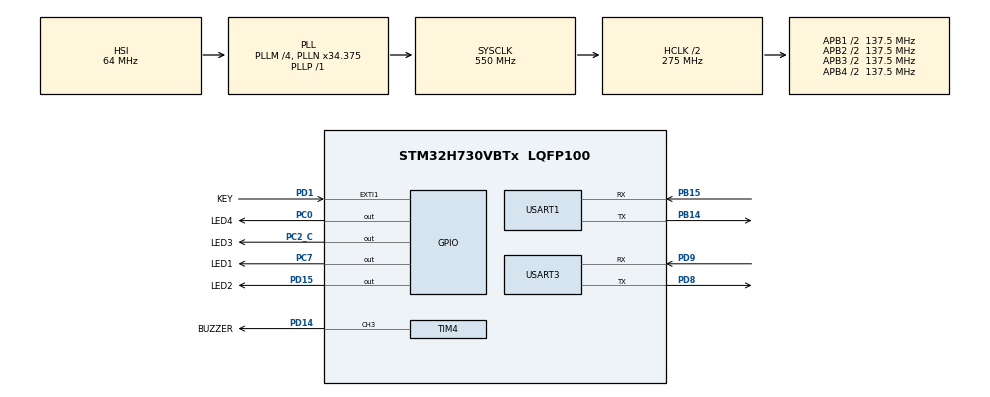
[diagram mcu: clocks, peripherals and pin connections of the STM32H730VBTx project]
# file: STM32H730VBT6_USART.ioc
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CORTEX_M7.default_mode_Activation=1
Dma.Request0=USART1_TX
Dma.USART1_TX.0.Direction=DMA_MEMORY_TO_PERIPH
Dma.USART1_TX.0.EventEnable=DISABLE
Dma.USART1_TX.0.FIFOMode=DMA_FIFOMODE_DISABLE
Dma.USART1_TX.0.Instance=DMA1_Stream0
Dma.USART1_TX.0.MemDataAlignment=DMA_MDATAALIGN_BYTE
Dma.USART1_TX.0.MemInc=DMA_MINC_ENABLE
Dma.USART1_TX.0.Mode=DMA_CIRCULAR
Dma.USART1_TX.0.PeriphDataAlignment=DMA_PDATAALIGN_BYTE
Dma.USART1_TX.0.PeriphInc=DMA_PINC_DISABLE
Dma.USART1_TX.0.Polarity=HAL_DMAMUX_REQ_GEN_RISING
Dma.USART1_TX.0.Priority=DMA_PRIORITY_LOW
Dma.USART1_TX.0.RequestNumber=1
Dma.USART1_TX.0.SignalID=NONE
Dma.USART1_TX.0.SyncEnable=DISABLE
Dma.USART1_TX.0.SyncPolarity=HAL_DMAMUX_SYNC_NO_EVENT
Dma.USART1_TX.0.SyncRequestNumber=1
Dma.USART1_TX.0.SyncSignalID=NONE
Mcu.Family=STM32H7
Mcu.Name=STM32H730VBTx
Mcu.Package=LQFP100
NVIC.DMA1_Stream0_IRQn=true\:0\:0\:false\:false\:true\:false\:true\:true
NVIC.EXTI1_IRQn=true\:0\:0\:false\:false\:true\:true\:true\:true
NVIC.PriorityGroup=NVIC_PRIORITYGROUP_4
PA13(JTMS/SWDIO).Mode=Serial_Wire
PA13(JTMS/SWDIO).Signal=DEBUG_JTMS-SWDIO
PA14(JTCK/SWCLK).Mode=Serial_Wire
PA14(JTCK/SWCLK).Signal=DEBUG_JTCK-SWCLK
PB14.Mode=Asynchronous
PB14.Signal=USART1_TX
PB15.Mode=Asynchronous
PB15.Signal=USART1_RX
PC0.GPIO_Label=LED4
PC0.Signal=GPIO_Output
PC14-OSC32_IN.Mode=LSE-External-Oscillator
PC14-OSC32_IN.Signal=RCC_OSC32_IN
PC15-OSC32_OUT.Mode=LSE-External-Oscillator
PC15-OSC32_OUT.Signal=RCC_OSC32_OUT
PC2_C.GPIO_Label=LED3
PC2_C.Signal=GPIO_Output
PC7.GPIO_Label=LED1
PC7.Signal=GPIO_Output
PD1.GPIO_Label=KEY
PD1.GPIO_ModeDefaultEXTI=GPIO_MODE_IT_FALLING
PD1.Signal=GPXTI1
PD14.GPIO_Label=BUZZER
PD14.Signal=S_TIM4_CH3
PD15.GPIO_Label=LED2
PD15.Signal=GPIO_Output
PD8.Mode=Asynchronous
PD8.Signal=USART3_TX
PD9.Mode=Asynchronous
PD9.Signal=USART3_RX
PH0-OSC_IN.Mode=HSE-External-Oscillator
PH0-OSC_IN.Signal=RCC_OSC_IN
PH1-OSC_OUT.Mode=HSE-External-Oscillator
PH1-OSC_OUT.Signal=RCC_OSC_OUT
ProjectManager.HeapSize=0x200
ProjectManager.StackSize=0x400
ProjectManager.TargetToolchain=STM32CubeIDE
RCC.ADCFreq_Value=129000000
RCC.APB1Freq_Value=137500000
RCC.APB2Freq_Value=137500000
RCC.APB3Freq_Value=137500000
RCC.APB4Freq_Value=137500000
RCC.CortexFreq_Value=550000000
RCC.D1PPRE=RCC_APB3_DIV2
RCC.D2PPRE1=RCC_APB1_DIV2
RCC.D2PPRE2=RCC_APB2_DIV2
RCC.D3PPRE=RCC_APB4_DIV2
RCC.DIVM1=4
RCC.DIVN1=34
RCC.DIVP1=1
RCC.HCLKFreq_Value=275000000
RCC.HPRE=RCC_HCLK_DIV2
RCC.PLL2FRACN=0
RCC.PLL3FRACN=0
RCC.PLLFRACN=3072
RCC.SYSCLKFreq_VALUE=550000000
RCC.SYSCLKSource=RCC_SYSCLKSOURCE_PLLCLK
RCC.USBFreq_Value=275000000
SH.S_TIM4_CH3.0=TIM4_CH3,PWM Generation3 CH3
TIM4.AutoReloadPreload=TIM_AUTORELOAD_PRELOAD_ENABLE
TIM4.Channel-PWM\ Generation3\ CH3=TIM_CHANNEL_3
TIM4.OCFastMode_PWM-PWM\ Generation3\ CH3=TIM_OCFAST_ENABLE
TIM4.Period=10999
TIM4.Prescaler=49
USART1.VirtualMode-Asynchronous=VM_ASYNC
USART3.VirtualMode-Asynchronous=VM_ASYNC
board=custom

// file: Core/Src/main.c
/* USER CODE BEGIN Header */
/**
 ******************************************************************************
 * @file           : main.c
 * @brief          : Main program body
 ******************************************************************************
 * @attention
 *
 * Copyright (c) 2024 STMicroelectronics.
 * All rights reserved.
 *
 * This software is licensed under terms that can be found in the LICENSE file
 * in the root directory of this software component.
 * If no LICENSE file comes with this software, it is provided AS-IS.
 *
 ******************************************************************************
 */
/* USER CODE END Header */
#include "main.h"
#include "dma.h"
#include "tim.h"
#include "usart.h"
#include "gpio.h"

/* USER CODE BEGIN Includes */
#include "BUZZER.h"
/* USER CODE END Includes */

/* USER CODE BEGIN PV */
uint8_t data[8] = {0x00, 0x01, 0x02, 0x03, 0x04, 0x05, 0x06, 0x07};
/* USER CODE END PV */

void SystemClock_Config(void);
static void MPU_Config(void);

int main(void)
{

    /* MPU Configuration--------------------------------------------------------*/
    MPU_Config();

    /* MCU Configuration--------------------------------------------------------*/

    /* Reset of all peripherals, Initializes the Flash interface and the Systick. */
    HAL_Init();

    /* Configure the system clock */
    SystemClock_Config();

    /* Initialize all configured peripherals */
    MX_GPIO_Init();
    MX_DMA_Init();
    MX_USART1_UART_Init();
    MX_TIM4_Init();
    MX_USART3_UART_Init();
    /* USER CODE BEGIN 2 */

    BUZZER_0N(400);
    HAL_Delay(100);
    BUZZER_Stop();
    HAL_Delay(100);
    BUZZER_0N(500);
    HAL_Delay(100);
    BUZZER_Stop();
    BUZZER_0N(700);
    HAL_Delay(114);
    BUZZER_Stop();
    /* USER CODE END 2 */

    /* Infinite loop */
    /* USER CODE BEGIN WHILE */
    while (1) {
        if (HAL_GPIO_ReadPin(KEY_GPIO_Port, KEY_Pin)) {
            BUZZER_Stop();
            HAL_UART_Transmit(&huart1, data, 8, 0xffff);
            HAL_UART_Transmit(&huart3, data, 8, 0xffff);
            HAL_Delay(100);
        } else {
            BUZZER_0N(114);
        }

        /* USER CODE END WHILE */

    }
}

void SystemClock_Config(void)
{
    RCC_OscInitTypeDef RCC_OscInitStruct = {0};
    RCC_ClkInitTypeDef RCC_ClkInitStruct = {0};

    /** Supply configuration update enable
     */
    HAL_PWREx_ConfigSupply(PWR_LDO_SUPPLY);

    /** Configure the main internal regulator output voltage
     */
    __HAL_PWR_VOLTAGESCALING_CONFIG(PWR_REGULATOR_VOLTAGE_SCALE0);

    while (!__HAL_PWR_GET_FLAG(PWR_FLAG_VOSRDY)) {}

    /** Initializes the RCC Oscillators according to the specified parameters
     * in the RCC_OscInitTypeDef structure.
     */
    RCC_OscInitStruct.OscillatorType      = RCC_OSCILLATORTYPE_HSI;
    RCC_OscInitStruct.HSIState            = RCC_HSI_DIV1;
    RCC_OscInitStruct.HSICalibrationValue = 64;
    RCC_OscInitStruct.PLL.PLLState        = RCC_PLL_ON;
    RCC_OscInitStruct.PLL.PLLSource       = RCC_PLLSOURCE_HSI;
    RCC_OscInitStruct.PLL.PLLM            = 4;
    RCC_OscInitStruct.PLL.PLLN            = 34;
    RCC_OscInitStruct.PLL.PLLP            = 1;
    RCC_OscInitStruct.PLL.PLLQ            = 2;
    RCC_OscInitStruct.PLL.PLLR            = 2;
    RCC_OscInitStruct.PLL.PLLRGE          = RCC_PLL1VCIRANGE_3;
    RCC_OscInitStruct.PLL.PLLVCOSEL       = RCC_PLL1VCOWIDE;
    RCC_OscInitStruct.PLL.PLLFRACN        = 3072;
    if (HAL_RCC_OscConfig(&RCC_OscInitStruct) != HAL_OK) {
        Error_Handler();
    }

    /** Initializes the CPU, AHB and APB buses clocks
     */
    RCC_ClkInitStruct.ClockType      = RCC_CLOCKTYPE_HCLK | RCC_CLOCKTYPE_SYSCLK | RCC_CLOCKTYPE_PCLK1 | RCC_CLOCKTYPE_PCLK2 | RCC_CLOCKTYPE_D3PCLK1 | RCC_CLOCKTYPE_D1PCLK1;
    RCC_ClkInitStruct.SYSCLKSource   = RCC_SYSCLKSOURCE_PLLCLK;
    RCC_ClkInitStruct.SYSCLKDivider  = RCC_SYSCLK_DIV1;
    RCC_ClkInitStruct.AHBCLKDivider  = RCC_HCLK_DIV2;
    RCC_ClkInitStruct.APB3CLKDivider = RCC_APB3_DIV2;
    RCC_ClkInitStruct.APB1CLKDivider = RCC_APB1_DIV2;
    RCC_ClkInitStruct.APB2CLKDivider = RCC_APB2_DIV2;
    RCC_ClkInitStruct.APB4CLKDivider = RCC_APB4_DIV2;

    if (HAL_RCC_ClockConfig(&RCC_ClkInitStruct, FLASH_LATENCY_3) != HAL_OK) {
        Error_Handler();
    }
}

/* MPU Configuration */

void MPU_Config(void)
{
    MPU_Region_InitTypeDef MPU_InitStruct = {0};

    /* Disables the MPU */
    HAL_MPU_Disable();

    /** Initializes and configures the Region and the memory to be protected
     */
    MPU_InitStruct.Enable           = MPU_REGION_ENABLE;
    MPU_InitStruct.Number           = MPU_REGION_NUMBER0;
    MPU_InitStruct.BaseAddress      = 0x0;
    MPU_InitStruct.Size             = MPU_REGION_SIZE_4GB;
    MPU_InitStruct.SubRegionDisable = 0x87;
    MPU_InitStruct.TypeExtField     = MPU_TEX_LEVEL0;
    MPU_InitStruct.AccessPermission = MPU_REGION_NO_ACCESS;
    MPU_InitStruct.DisableExec      = MPU_INSTRUCTION_ACCESS_DISABLE;
    MPU_InitStruct.IsShareable      = MPU_ACCESS_SHAREABLE;
    MPU_InitStruct.IsCacheable      = MPU_ACCESS_NOT_CACHEABLE;
    MPU_InitStruct.IsBufferable     = MPU_ACCESS_NOT_BUFFERABLE;

    HAL_MPU_ConfigRegion(&MPU_InitStruct);
    /* Enables the MPU */
    HAL_MPU_Enable(MPU_PRIVILEGED_DEFAULT);
}

void Error_Handler(void)
{
    __disable_irq();
    while (1) {
    }
}
